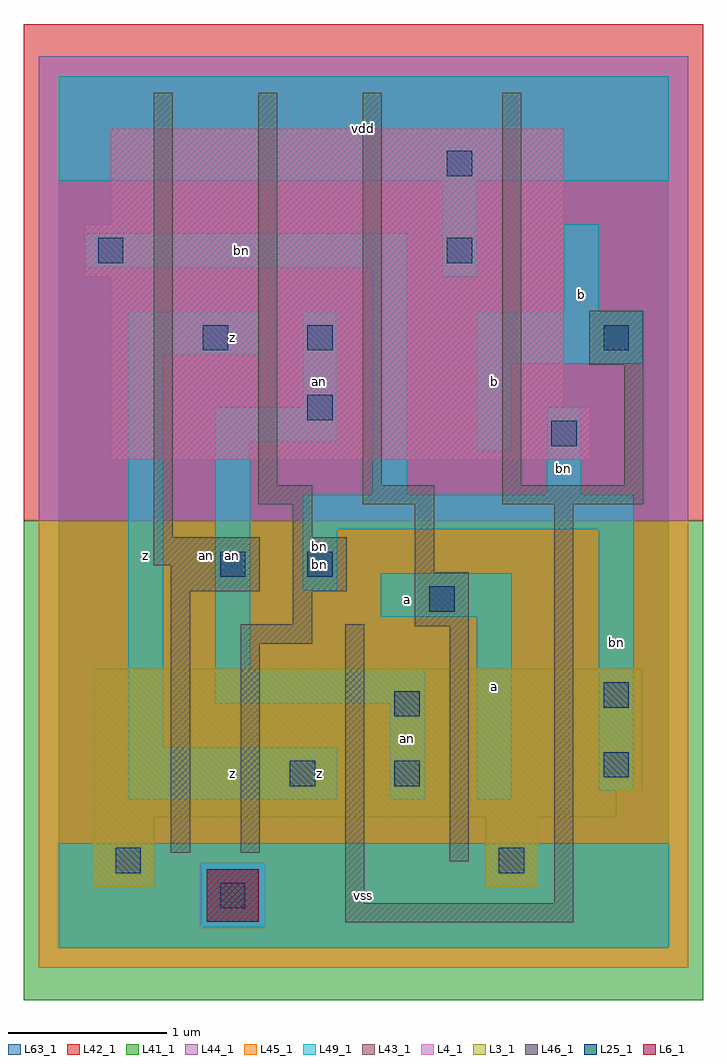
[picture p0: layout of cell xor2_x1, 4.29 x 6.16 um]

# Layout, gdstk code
import gdstk
lib = gdstk.Library(unit=1e-6, precision=1e-09)
def R(c, l, rs):  # rectangles x0, y0, x1, y1
    for r in rs: c.add(gdstk.rectangle(r[:2], r[2:], *l))
L3_1 = (3, 1)
L4_1 = (4, 1)
L6_1 = (6, 1)
L25_1 = (25, 1)
L41_1 = (41, 1)
L42_1 = (42, 1)
L43_1 = (43, 1)
L44_1 = (44, 1)
L45_1 = (45, 1)
L46_1 = (46, 1)
L49_1 = (49, 1)
L63_1 = (63, 1)

xor2_x1 = lib.new_cell('xor2_x1')
R(xor2_x1, L3_1, [(0.22,0.385,0.605,0.825), (2.695,0.385,3.025,0.825), (0.22,0.825,3.52,0.99), (0.22,0.99,3.685,1.76)])
R(xor2_x1, L4_1, [(0.33,3.08,3.355,3.41), (0.33,3.41,3.19,4.235), (0.165,4.235,3.19,4.565), (0.33,4.565,3.19,5.17)])
R(xor2_x1, L6_1, [(0.935,0.165,1.265,0.495)])
R(xor2_x1, L25_1, [(1.02,0.25,1.18,0.41), (0.36,0.47,0.52,0.63), (2.78,0.47,2.94,0.63), (1.46,1.02,1.62,1.18), (2.12,1.02,2.28,1.18), (3.44,1.075,3.6,1.235), (2.12,1.46,2.28,1.62), (3.44,1.515,3.6,1.675), (2.34,2.12,2.5,2.28), (1.02,2.34,1.18,2.5), (1.57,2.34,1.73,2.5), (3.11,3.165,3.27,3.325), (1.57,3.33,1.73,3.49), (0.91,3.77,1.07,3.93), (1.57,3.77,1.73,3.93), (3.44,3.77,3.6,3.93), (0.25,4.32,0.41,4.48), (2.45,4.32,2.61,4.48), (2.45,4.87,2.61,5.03)])
R(xor2_x1, L41_1, [(-0.22,-0.33,4.07,2.695)])
R(xor2_x1, L42_1, [(-0.22,2.695,4.07,5.83)])
R(xor2_x1, L43_1, [(0.935,0.165,1.265,0.495), (0.22,0.385,0.605,0.825), (2.695,0.385,3.025,0.825), (0.22,0.825,3.52,0.99), (0.22,0.99,3.685,1.76), (0.33,3.08,3.355,3.41), (0.33,3.41,3.19,4.235), (0.165,4.235,3.19,4.565), (0.33,4.565,3.19,5.17)])
R(xor2_x1, L44_1, [(0.895,0.125,1.305,0.535), (-0.125,2.695,3.975,5.625)])
R(xor2_x1, L45_1, [(-0.125,-0.125,3.975,0.125), (-0.125,0.125,0.895,0.535), (1.305,0.125,3.975,0.535), (-0.125,0.535,3.975,2.695)])
R(xor2_x1, L46_1, [(1.81,0.16,3.25,0.28), (1.81,0.28,1.93,2.04), (3.13,0.28,3.25,2.8), (2.47,0.545,2.59,2.03), (0.71,0.6,0.83,2.25), (1.15,0.6,1.27,1.92), (1.15,1.92,1.6,2.04), (2.25,2.03,2.59,2.37), (1.48,2.04,1.6,2.25), (0.71,2.25,1.27,2.415), (1.48,2.25,1.82,2.59), (2.25,2.37,2.37,2.8), (0.6,2.415,1.27,2.59), (0.6,2.59,0.72,5.395), (1.48,2.59,1.6,2.8), (1.26,2.8,1.6,2.92), (1.92,2.8,2.37,2.92), (2.8,2.8,3.69,2.92), (1.26,2.92,1.38,5.395), (1.92,2.92,2.04,5.395), (2.8,2.92,2.92,5.395), (3.57,2.92,3.69,3.68), (3.35,3.68,3.69,4.02)])
R(xor2_x1, L49_1, [(0,0,3.85,0.66), (0.44,0.935,1.76,1.265), (2.09,0.935,2.31,1.54), (2.64,0.935,2.86,2.09), (3.41,0.99,3.63,2.64), (0.44,1.265,0.66,3.74), (0.99,1.54,2.31,1.76), (0.99,1.76,1.21,3.19), (2.035,2.09,2.86,2.365), (1.54,2.255,1.76,2.64), (1.54,2.64,3.63,2.86), (1.98,2.86,2.2,4.29), (3.08,2.86,3.3,3.41), (2.64,3.135,2.86,3.685), (0.99,3.19,1.76,3.41), (1.54,3.41,1.76,4.015), (2.64,3.685,3.685,4.015), (0.44,3.74,1.265,4.015), (3.19,4.015,3.41,4.565), (2.42,4.235,2.64,4.84), (0.165,4.29,2.2,4.51), (0,4.84,3.85,5.5)])
R(xor2_x1, L63_1, [(0,0,3.85,5.5)])
xor2_x1.add(gdstk.Label('an', (0.935,2.475), layer=46, texttype=1))
xor2_x1.add(gdstk.Label('bn', (1.65,2.42), layer=49, texttype=1))
xor2_x1.add(gdstk.Label('z', (0.55,2.475), layer=49, texttype=1))
xor2_x1.add(gdstk.Label('z', (0.55,2.475), layer=49, texttype=1))
xor2_x1.add(gdstk.Label('z', (1.1,1.1), layer=49, texttype=1))
xor2_x1.add(gdstk.Label('z', (1.1,1.1), layer=49, texttype=1))
xor2_x1.add(gdstk.Label('z', (1.65,1.1), layer=49, texttype=1))
xor2_x1.add(gdstk.Label('z', (1.65,1.1), layer=49, texttype=1))
xor2_x1.add(gdstk.Label('bn', (1.65,2.53), layer=49, texttype=1))
xor2_x1.add(gdstk.Label('an', (1.1,2.475), layer=49, texttype=1))
xor2_x1.add(gdstk.Label('z', (1.1,3.85), layer=49, texttype=1))
xor2_x1.add(gdstk.Label('z', (1.1,3.85), layer=49, texttype=1))
xor2_x1.add(gdstk.Label('an', (1.65,3.575), layer=49, texttype=1))
xor2_x1.add(gdstk.Label('vss', (1.925,0.33), layer=49, texttype=1))
xor2_x1.add(gdstk.Label('vss', (1.925,0.33), layer=49, texttype=1))
xor2_x1.add(gdstk.Label('an', (2.2,1.32), layer=49, texttype=1))
xor2_x1.add(gdstk.Label('a', (2.75,1.65), layer=49, texttype=1))
xor2_x1.add(gdstk.Label('a', (2.2,2.2), layer=49, texttype=1))
xor2_x1.add(gdstk.Label('a', (2.75,1.65), layer=49, texttype=1))
xor2_x1.add(gdstk.Label('a', (2.2,2.2), layer=49, texttype=1))
xor2_x1.add(gdstk.Label('b', (2.75,3.575), layer=49, texttype=1))
xor2_x1.add(gdstk.Label('b', (2.75,3.575), layer=49, texttype=1))
xor2_x1.add(gdstk.Label('vdd', (1.925,5.17), layer=49, texttype=1))
xor2_x1.add(gdstk.Label('vdd', (1.925,5.17), layer=49, texttype=1))
xor2_x1.add(gdstk.Label('bn', (1.155,4.4), layer=49, texttype=1))
xor2_x1.add(gdstk.Label('bn', (3.19,3.025), layer=49, texttype=1))
xor2_x1.add(gdstk.Label('bn', (3.52,1.925), layer=49, texttype=1))
xor2_x1.add(gdstk.Label('b', (3.3,4.125), layer=49, texttype=1))
xor2_x1.add(gdstk.Label('b', (3.3,4.125), layer=49, texttype=1))

lib.write_gds('xor2_x1.gds')
